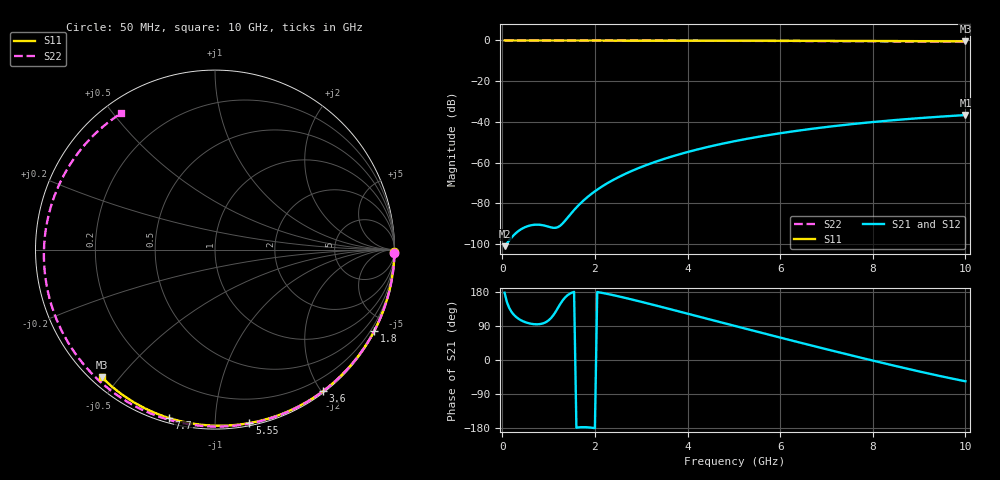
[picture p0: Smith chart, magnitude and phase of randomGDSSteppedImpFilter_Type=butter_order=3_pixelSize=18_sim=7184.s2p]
! freq	dB(S11)	phase(S11)	dB(S12)	phase(S12)
!  dB(S21)	phase(S21)	dB(S22)	phase(S22)
!S-par simulation data
#  GHz  S  DB  R 50
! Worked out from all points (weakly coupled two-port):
!   200 points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, 50 MHz to 10 GHz, reference 50 ohm
!   highest |S21| = -36.64 dB at 10 GHz (marker M1); lowest = -101.0 dB at 50 MHz (marker M2)
!   lowest |S11| = -0.4 dB at 10 GHz (marker M3), VSWR 39.00, Z = 1.54 - j22.5 ohm
!   |S11| at or under -10 dB: nowhere
!   |S22| runs from -0.7 to 0.0 dB; largest |S21 - S12| = 0
!   S11 on the Smith chart (normalised r, x): 50 MHz: open; 1.8 GHz: 0.04, -4.17; 3.6 GHz: 0.02, -2.02; 5.55 GHz: 0.02, -1.22; 7.7 GHz: 0.02, -0.76; 10 GHz: 0.03, -0.45
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0.05  -0.00 -0.8  -101.04 177.5  -101.04 177.5  -0.00 -1.2
0.8  -0.01 -12.1  -90.52 94.6  -90.52 94.6  -0.02 -19.7
1.65  -0.03 -24.8  -80.87 -177.7  -80.87 -177.7  -0.05 -40.2
1.7  -0.03 -25.5  -79.75 -177.3  -79.75 -177.3  -0.05 -41.3
1.75  -0.03 -26.2  -78.69 -177.1  -78.69 -177.1  -0.05 -42.5
1.8  -0.03 -27.0  -77.68 -177.3  -77.68 -177.3  -0.06 -43.7
2.1  -0.04 -31.4  -72.52 178.3  -72.52 178.3  -0.06 -50.8
2.45  -0.05 -36.4  -67.84 169.7  -67.84 169.7  -0.07 -58.9
2.9  -0.06 -42.9  -63.09 156.6  -63.09 156.6  -0.09 -69.2
3.4  -0.07 -50.0  -58.88 141.2  -58.88 141.2  -0.11 -80.4
3.6  -0.07 -52.7  -57.42 135.0  -57.42 135.0  -0.11 -84.8
4.3  -0.09 -62.3  -53.06 112.8  -53.06 112.8  -0.14 -100.1
5.05  -0.11 -72.3  -49.32 89.0  -49.32 89.0  -0.18 -116.1
5.55  -0.13 -78.8  -47.24 73.3  -47.24 73.3  -0.21 -126.7
6.7  -0.18 -93.2  -43.35 37.5  -43.35 37.5  -0.29 -151.3
7.2  -0.21 -99.2  -41.97 22.3  -41.97 22.3  -0.34 -162.3
7.7  -0.24 -105.2  -40.74 7.3  -40.74 7.3  -0.39 -173.8
8.35  -0.29 -112.8  -39.35 -11.7  -39.35 -11.7  -0.46 170.6
8.8  -0.33 -118.0  -38.51 -24.6  -38.51 -24.6  -0.52 159.2
9.2  -0.36 -122.5  -37.83 -35.6  -37.83 -35.6  -0.58 148.4
9.6  -0.40 -127.1  -37.21 -46.2  -37.21 -46.2  -0.64 136.9
10  -0.45 -131.6  -36.64 -56.1  -36.64 -56.1  -0.70 124.6
